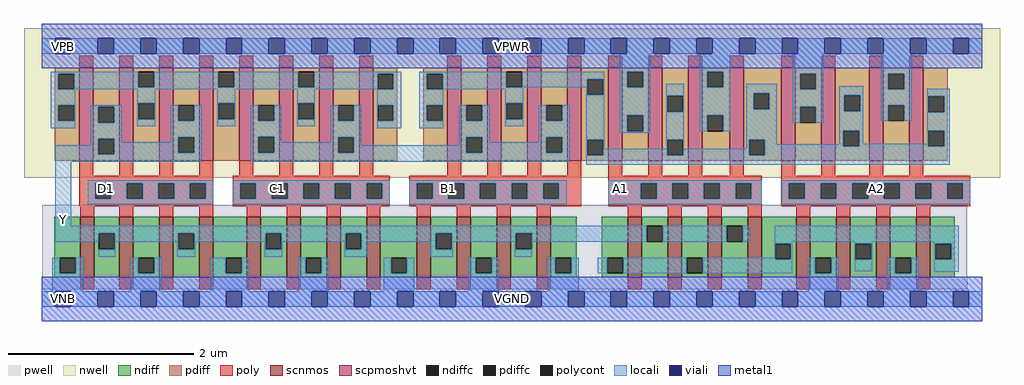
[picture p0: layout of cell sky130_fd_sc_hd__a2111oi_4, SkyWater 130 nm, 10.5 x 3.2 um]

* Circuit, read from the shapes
.subckt sky130_fd_sc_hd__a2111oi_4 A1 A2 B1 C1 D1 VGND VNB VPB VPWR Y
XM1 Y D1 VGND VNB sky130_fd_pr__nfet_01v8 w=0.65 l=0.15 m=4
XM2 Y C1 VGND VNB sky130_fd_pr__nfet_01v8 w=0.65 l=0.15 m=4
XM3 Y B1 VGND VNB sky130_fd_pr__nfet_01v8 w=0.65 l=0.15 m=4
XM4 Y A1 n1 VNB sky130_fd_pr__nfet_01v8 w=0.65 l=0.15 m=4
XM5 VGND A2 n1 VNB sky130_fd_pr__nfet_01v8 w=0.65 l=0.15 m=4
XM6 Y D1 n2 VPB sky130_fd_pr__pfet_01v8_hvt w=1 l=0.15 m=4
XM7 n3 C1 n2 VPB sky130_fd_pr__pfet_01v8_hvt w=1 l=0.15 m=4
XM8 n3 B1 n4 VPB sky130_fd_pr__pfet_01v8_hvt w=1 l=0.15 m=4
XM9 VPWR A1 n4 VPB sky130_fd_pr__pfet_01v8_hvt w=1 l=0.15 m=4
XM10 VPWR A2 n4 VPB sky130_fd_pr__pfet_01v8_hvt w=1 l=0.15 m=4
.ends

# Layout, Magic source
magic
tech sky130A
magscale 1 2
<< nwell >>
rect -38 261 2062 582
<< pwell >>
rect 1 21 1991 203
rect 30 -17 64 21
<< scnmos >>
rect 83 47 113 177
rect 167 47 197 177
rect 253 47 283 177
rect 339 47 369 177
rect 441 47 471 177
rect 527 47 557 177
rect 613 47 643 177
rect 699 47 729 177
rect 807 47 837 177
rect 893 47 923 177
rect 979 47 1009 177
rect 1065 47 1095 177
rect 1261 47 1291 177
rect 1347 47 1377 177
rect 1433 47 1463 177
rect 1519 47 1549 177
rect 1624 47 1654 177
rect 1710 47 1740 177
rect 1796 47 1826 177
rect 1882 47 1912 177
<< scpmoshvt >>
rect 81 297 111 497
rect 167 297 197 497
rect 253 297 283 497
rect 339 297 369 497
rect 425 297 455 497
rect 511 297 541 497
rect 597 297 627 497
rect 683 297 713 497
rect 873 297 903 497
rect 959 297 989 497
rect 1045 297 1075 497
rect 1131 297 1161 497
rect 1219 297 1249 497
rect 1305 297 1335 497
rect 1391 297 1421 497
rect 1481 297 1511 497
rect 1591 297 1621 497
rect 1677 297 1707 497
rect 1781 297 1811 497
rect 1867 297 1897 497
<< ndiff >>
rect 27 89 83 177
rect 27 55 39 89
rect 73 55 83 89
rect 27 47 83 55
rect 113 141 167 177
rect 113 107 123 141
rect 157 107 167 141
rect 113 47 167 107
rect 197 89 253 177
rect 197 55 208 89
rect 242 55 253 89
rect 197 47 253 55
rect 283 141 339 177
rect 283 107 294 141
rect 328 107 339 141
rect 283 47 339 107
rect 369 89 441 177
rect 369 55 396 89
rect 430 55 441 89
rect 369 47 441 55
rect 471 141 527 177
rect 471 107 482 141
rect 516 107 527 141
rect 471 47 527 107
rect 557 89 613 177
rect 557 55 568 89
rect 602 55 613 89
rect 557 47 613 55
rect 643 141 699 177
rect 643 107 654 141
rect 688 107 699 141
rect 643 47 699 107
rect 729 89 807 177
rect 729 55 752 89
rect 786 55 807 89
rect 729 47 807 55
rect 837 141 893 177
rect 837 107 848 141
rect 882 107 893 141
rect 837 47 893 107
rect 923 89 979 177
rect 923 55 934 89
rect 968 55 979 89
rect 923 47 979 55
rect 1009 141 1065 177
rect 1009 107 1020 141
rect 1054 107 1065 141
rect 1009 47 1065 107
rect 1095 89 1151 177
rect 1095 55 1105 89
rect 1139 55 1151 89
rect 1095 47 1151 55
rect 1205 89 1261 177
rect 1205 55 1217 89
rect 1251 55 1261 89
rect 1205 47 1261 55
rect 1291 157 1347 177
rect 1291 123 1302 157
rect 1336 123 1347 157
rect 1291 47 1347 123
rect 1377 89 1433 177
rect 1377 55 1388 89
rect 1422 55 1433 89
rect 1377 47 1433 55
rect 1463 157 1519 177
rect 1463 123 1474 157
rect 1508 123 1519 157
rect 1463 47 1519 123
rect 1549 119 1624 177
rect 1549 85 1578 119
rect 1612 85 1624 119
rect 1549 47 1624 85
rect 1654 89 1710 177
rect 1654 55 1665 89
rect 1699 55 1710 89
rect 1654 47 1710 55
rect 1740 119 1796 177
rect 1740 85 1751 119
rect 1785 85 1796 119
rect 1740 47 1796 85
rect 1826 89 1882 177
rect 1826 55 1837 89
rect 1871 55 1882 89
rect 1826 47 1882 55
rect 1912 119 1965 177
rect 1912 85 1923 119
rect 1957 85 1965 119
rect 1912 47 1965 85
<< pdiff >>
rect 28 485 81 497
rect 28 451 36 485
rect 70 451 81 485
rect 28 417 81 451
rect 28 383 36 417
rect 70 383 81 417
rect 28 297 81 383
rect 111 413 167 497
rect 111 379 122 413
rect 156 379 167 413
rect 111 345 167 379
rect 111 311 122 345
rect 156 311 167 345
rect 111 297 167 311
rect 197 489 253 497
rect 197 455 208 489
rect 242 455 253 489
rect 197 421 253 455
rect 197 387 208 421
rect 242 387 253 421
rect 197 297 253 387
rect 283 417 339 497
rect 283 383 294 417
rect 328 383 339 417
rect 283 348 339 383
rect 283 314 294 348
rect 328 314 339 348
rect 283 297 339 314
rect 369 489 425 497
rect 369 455 380 489
rect 414 455 425 489
rect 369 421 425 455
rect 369 387 380 421
rect 414 387 425 421
rect 369 297 425 387
rect 455 417 511 497
rect 455 383 466 417
rect 500 383 511 417
rect 455 349 511 383
rect 455 315 466 349
rect 500 315 511 349
rect 455 297 511 315
rect 541 489 597 497
rect 541 455 552 489
rect 586 455 597 489
rect 541 421 597 455
rect 541 387 552 421
rect 586 387 597 421
rect 541 297 597 387
rect 627 417 683 497
rect 627 383 638 417
rect 672 383 683 417
rect 627 348 683 383
rect 627 314 638 348
rect 672 314 683 348
rect 627 297 683 314
rect 713 485 765 497
rect 713 451 723 485
rect 757 451 765 485
rect 713 417 765 451
rect 713 383 723 417
rect 757 383 765 417
rect 713 297 765 383
rect 821 485 873 497
rect 821 451 829 485
rect 863 451 873 485
rect 821 417 873 451
rect 821 383 829 417
rect 863 383 873 417
rect 821 297 873 383
rect 903 417 959 497
rect 903 383 914 417
rect 948 383 959 417
rect 903 348 959 383
rect 903 314 914 348
rect 948 314 959 348
rect 903 297 959 314
rect 989 489 1045 497
rect 989 455 1000 489
rect 1034 455 1045 489
rect 989 421 1045 455
rect 989 387 1000 421
rect 1034 387 1045 421
rect 989 297 1045 387
rect 1075 417 1131 497
rect 1075 383 1086 417
rect 1120 383 1131 417
rect 1075 348 1131 383
rect 1075 314 1086 348
rect 1120 314 1131 348
rect 1075 297 1131 314
rect 1161 473 1219 497
rect 1161 439 1174 473
rect 1208 439 1219 473
rect 1161 343 1219 439
rect 1161 309 1174 343
rect 1208 309 1219 343
rect 1161 297 1219 309
rect 1249 489 1305 497
rect 1249 455 1260 489
rect 1294 455 1305 489
rect 1249 395 1305 455
rect 1249 361 1260 395
rect 1294 361 1305 395
rect 1249 297 1305 361
rect 1335 437 1391 497
rect 1335 403 1346 437
rect 1380 403 1391 437
rect 1335 343 1391 403
rect 1335 309 1346 343
rect 1380 309 1391 343
rect 1335 297 1391 309
rect 1421 489 1481 497
rect 1421 455 1432 489
rect 1466 455 1481 489
rect 1421 395 1481 455
rect 1421 361 1432 395
rect 1466 361 1481 395
rect 1421 297 1481 361
rect 1511 442 1591 497
rect 1511 408 1532 442
rect 1566 408 1591 442
rect 1511 343 1591 408
rect 1511 309 1522 343
rect 1556 309 1591 343
rect 1511 297 1591 309
rect 1621 485 1677 497
rect 1621 451 1632 485
rect 1666 451 1677 485
rect 1621 413 1677 451
rect 1621 379 1632 413
rect 1666 379 1677 413
rect 1621 297 1677 379
rect 1707 438 1781 497
rect 1707 404 1727 438
rect 1761 404 1781 438
rect 1707 362 1781 404
rect 1707 328 1725 362
rect 1759 328 1781 362
rect 1707 297 1781 328
rect 1811 485 1867 497
rect 1811 451 1822 485
rect 1856 451 1867 485
rect 1811 417 1867 451
rect 1811 383 1822 417
rect 1856 383 1867 417
rect 1811 297 1867 383
rect 1897 436 1950 497
rect 1897 402 1908 436
rect 1942 402 1950 436
rect 1897 362 1950 402
rect 1897 328 1908 362
rect 1942 328 1950 362
rect 1897 297 1950 328
<< ndiffc >>
rect 39 55 73 89
rect 123 107 157 141
rect 208 55 242 89
rect 294 107 328 141
rect 396 55 430 89
rect 482 107 516 141
rect 568 55 602 89
rect 654 107 688 141
rect 752 55 786 89
rect 848 107 882 141
rect 934 55 968 89
rect 1020 107 1054 141
rect 1105 55 1139 89
rect 1217 55 1251 89
rect 1302 123 1336 157
rect 1388 55 1422 89
rect 1474 123 1508 157
rect 1578 85 1612 119
rect 1665 55 1699 89
rect 1751 85 1785 119
rect 1837 55 1871 89
rect 1923 85 1957 119
<< pdiffc >>
rect 36 451 70 485
rect 36 383 70 417
rect 122 379 156 413
rect 122 311 156 345
rect 208 455 242 489
rect 208 387 242 421
rect 294 383 328 417
rect 294 314 328 348
rect 380 455 414 489
rect 380 387 414 421
rect 466 383 500 417
rect 466 315 500 349
rect 552 455 586 489
rect 552 387 586 421
rect 638 383 672 417
rect 638 314 672 348
rect 723 451 757 485
rect 723 383 757 417
rect 829 451 863 485
rect 829 383 863 417
rect 914 383 948 417
rect 914 314 948 348
rect 1000 455 1034 489
rect 1000 387 1034 421
rect 1086 383 1120 417
rect 1086 314 1120 348
rect 1174 439 1208 473
rect 1174 309 1208 343
rect 1260 455 1294 489
rect 1260 361 1294 395
rect 1346 403 1380 437
rect 1346 309 1380 343
rect 1432 455 1466 489
rect 1432 361 1466 395
rect 1532 408 1566 442
rect 1522 309 1556 343
rect 1632 451 1666 485
rect 1632 379 1666 413
rect 1727 404 1761 438
rect 1725 328 1759 362
rect 1822 451 1856 485
rect 1822 383 1856 417
rect 1908 402 1942 436
rect 1908 328 1942 362
<< poly >>
rect 81 497 111 523
rect 167 497 197 523
rect 253 497 283 523
rect 339 497 369 523
rect 425 497 455 523
rect 511 497 541 523
rect 597 497 627 523
rect 683 497 713 523
rect 873 497 903 523
rect 959 497 989 523
rect 1045 497 1075 523
rect 1131 497 1161 523
rect 1219 497 1249 523
rect 1305 497 1335 523
rect 1391 497 1421 523
rect 1481 497 1511 523
rect 1591 497 1621 523
rect 1677 497 1707 523
rect 1781 497 1811 523
rect 1867 497 1897 523
rect 81 265 111 297
rect 167 265 197 297
rect 253 265 283 297
rect 339 265 369 297
rect 425 265 455 297
rect 511 265 541 297
rect 597 265 627 297
rect 683 265 713 297
rect 873 265 903 297
rect 959 265 989 297
rect 1045 265 1075 297
rect 1131 265 1161 297
rect 81 249 369 265
rect 81 215 115 249
rect 149 215 183 249
rect 217 215 251 249
rect 285 215 319 249
rect 353 215 369 249
rect 81 199 369 215
rect 411 249 749 265
rect 411 215 427 249
rect 461 215 495 249
rect 529 215 563 249
rect 597 215 631 249
rect 665 215 699 249
rect 733 215 749 249
rect 411 199 749 215
rect 791 249 1161 265
rect 791 215 807 249
rect 841 215 875 249
rect 909 215 943 249
rect 977 215 1011 249
rect 1045 215 1079 249
rect 1113 215 1161 249
rect 791 199 1161 215
rect 1219 265 1249 297
rect 1305 265 1335 297
rect 1391 265 1421 297
rect 1481 265 1511 297
rect 1591 265 1621 297
rect 1677 265 1707 297
rect 1781 265 1811 297
rect 1867 265 1897 297
rect 1219 249 1549 265
rect 1219 215 1289 249
rect 1323 215 1357 249
rect 1391 215 1425 249
rect 1459 215 1493 249
rect 1527 215 1549 249
rect 1219 199 1549 215
rect 1591 249 1998 265
rect 1591 215 1608 249
rect 1642 215 1676 249
rect 1710 215 1744 249
rect 1778 215 1812 249
rect 1846 215 1880 249
rect 1914 215 1948 249
rect 1982 215 1998 249
rect 1591 199 1998 215
rect 83 177 113 199
rect 167 177 197 199
rect 253 177 283 199
rect 339 177 369 199
rect 441 177 471 199
rect 527 177 557 199
rect 613 177 643 199
rect 699 177 729 199
rect 807 177 837 199
rect 893 177 923 199
rect 979 177 1009 199
rect 1065 177 1095 199
rect 1261 177 1291 199
rect 1347 177 1377 199
rect 1433 177 1463 199
rect 1519 177 1549 199
rect 1624 177 1654 199
rect 1710 177 1740 199
rect 1796 177 1826 199
rect 1882 177 1912 199
rect 83 21 113 47
rect 167 21 197 47
rect 253 21 283 47
rect 339 21 369 47
rect 441 21 471 47
rect 527 21 557 47
rect 613 21 643 47
rect 699 21 729 47
rect 807 21 837 47
rect 893 21 923 47
rect 979 21 1009 47
rect 1065 21 1095 47
rect 1261 21 1291 47
rect 1347 21 1377 47
rect 1433 21 1463 47
rect 1519 21 1549 47
rect 1624 21 1654 47
rect 1710 21 1740 47
rect 1796 21 1826 47
rect 1882 21 1912 47
<< polycont >>
rect 115 215 149 249
rect 183 215 217 249
rect 251 215 285 249
rect 319 215 353 249
rect 427 215 461 249
rect 495 215 529 249
rect 563 215 597 249
rect 631 215 665 249
rect 699 215 733 249
rect 807 215 841 249
rect 875 215 909 249
rect 943 215 977 249
rect 1011 215 1045 249
rect 1079 215 1113 249
rect 1289 215 1323 249
rect 1357 215 1391 249
rect 1425 215 1459 249
rect 1493 215 1527 249
rect 1608 215 1642 249
rect 1676 215 1710 249
rect 1744 215 1778 249
rect 1812 215 1846 249
rect 1880 215 1914 249
rect 1948 215 1982 249
<< locali >>
rect 0 527 29 561
rect 63 527 121 561
rect 155 527 213 561
rect 247 527 305 561
rect 339 527 397 561
rect 431 527 489 561
rect 523 527 581 561
rect 615 527 673 561
rect 707 527 765 561
rect 799 527 857 561
rect 891 527 949 561
rect 983 527 1041 561
rect 1075 527 1133 561
rect 1167 527 1225 561
rect 1259 527 1317 561
rect 1351 527 1409 561
rect 1443 527 1501 561
rect 1535 527 1593 561
rect 1627 527 1685 561
rect 1719 527 1777 561
rect 1811 527 1869 561
rect 1903 527 1961 561
rect 1995 527 2024 561
rect 1244 489 1310 527
rect 20 485 208 489
rect 20 451 36 485
rect 70 455 208 485
rect 242 455 380 489
rect 414 455 552 489
rect 586 485 774 489
rect 586 455 723 485
rect 70 451 723 455
rect 757 451 774 485
rect 20 417 72 451
rect 206 421 244 451
rect 20 383 36 417
rect 70 383 72 417
rect 20 367 72 383
rect 106 413 172 417
rect 106 379 122 413
rect 156 379 172 413
rect 106 345 172 379
rect 206 387 208 421
rect 242 387 244 421
rect 378 421 416 451
rect 206 371 244 387
rect 278 383 294 417
rect 328 383 344 417
rect 106 331 122 345
rect 29 311 122 331
rect 156 337 172 345
rect 278 348 344 383
rect 378 387 380 421
rect 414 387 416 421
rect 550 421 588 451
rect 378 371 416 387
rect 450 383 466 417
rect 500 383 516 417
rect 278 337 294 348
rect 156 314 294 337
rect 328 314 344 348
rect 156 311 344 314
rect 29 295 344 311
rect 450 349 516 383
rect 550 387 552 421
rect 586 387 588 421
rect 722 417 774 451
rect 550 371 588 387
rect 622 383 638 417
rect 672 383 688 417
rect 450 315 466 349
rect 500 337 516 349
rect 622 348 688 383
rect 722 383 723 417
rect 757 383 774 417
rect 722 367 774 383
rect 812 485 1000 489
rect 812 451 829 485
rect 863 455 1000 485
rect 1034 473 1210 489
rect 1034 455 1174 473
rect 863 451 1036 455
rect 812 417 864 451
rect 998 421 1036 451
rect 812 383 829 417
rect 863 383 864 417
rect 812 367 864 383
rect 898 383 914 417
rect 948 383 964 417
rect 622 337 638 348
rect 500 315 638 337
rect 450 314 638 315
rect 672 331 688 348
rect 898 348 964 383
rect 998 387 1000 421
rect 1034 387 1036 421
rect 1172 439 1174 455
rect 1208 439 1210 473
rect 998 371 1036 387
rect 1070 383 1086 417
rect 1120 383 1136 417
rect 898 331 914 348
rect 672 314 914 331
rect 948 337 964 348
rect 1070 348 1136 383
rect 1070 337 1086 348
rect 948 314 1086 337
rect 1120 314 1136 348
rect 450 295 1136 314
rect 1172 343 1210 439
rect 1244 455 1260 489
rect 1294 455 1310 489
rect 1416 489 1482 527
rect 1244 395 1310 455
rect 1244 361 1260 395
rect 1294 361 1310 395
rect 1244 357 1310 361
rect 1344 437 1382 463
rect 1344 403 1346 437
rect 1380 403 1382 437
rect 1172 309 1174 343
rect 1208 323 1210 343
rect 1344 343 1382 403
rect 1416 455 1432 489
rect 1466 455 1482 489
rect 1616 485 1682 527
rect 1416 395 1482 455
rect 1416 361 1432 395
rect 1466 361 1482 395
rect 1516 442 1582 463
rect 1516 408 1532 442
rect 1566 408 1582 442
rect 1344 323 1346 343
rect 1208 309 1346 323
rect 1380 323 1382 343
rect 1516 343 1582 408
rect 1616 451 1632 485
rect 1666 451 1682 485
rect 1806 485 1872 527
rect 1616 413 1682 451
rect 1616 379 1632 413
rect 1666 379 1682 413
rect 1716 438 1768 458
rect 1716 404 1727 438
rect 1761 404 1768 438
rect 1516 323 1522 343
rect 1380 309 1522 323
rect 1556 333 1582 343
rect 1716 362 1768 404
rect 1806 451 1822 485
rect 1856 451 1872 485
rect 1806 417 1872 451
rect 1806 383 1822 417
rect 1856 383 1872 417
rect 1906 436 1954 452
rect 1906 402 1908 436
rect 1942 402 1954 436
rect 1716 333 1725 362
rect 1556 328 1725 333
rect 1759 334 1768 362
rect 1906 362 1954 402
rect 1906 334 1908 362
rect 1759 328 1908 334
rect 1942 328 1954 362
rect 1556 309 1954 328
rect 29 157 64 295
rect 1172 289 1954 309
rect 99 249 369 255
rect 99 215 115 249
rect 149 215 183 249
rect 217 215 251 249
rect 285 215 319 249
rect 353 215 369 249
rect 99 204 369 215
rect 411 249 749 255
rect 411 215 427 249
rect 461 215 495 249
rect 529 215 563 249
rect 597 215 631 249
rect 665 215 699 249
rect 733 215 749 249
rect 411 204 749 215
rect 791 249 1130 255
rect 791 215 807 249
rect 841 215 875 249
rect 909 215 943 249
rect 977 215 1011 249
rect 1045 215 1079 249
rect 1113 215 1130 249
rect 791 204 1130 215
rect 1219 249 1549 255
rect 1219 215 1289 249
rect 1323 215 1357 249
rect 1391 215 1425 249
rect 1459 215 1493 249
rect 1527 215 1549 249
rect 1219 204 1549 215
rect 1592 249 1998 255
rect 1592 215 1608 249
rect 1642 215 1676 249
rect 1710 215 1744 249
rect 1778 215 1812 249
rect 1846 215 1880 249
rect 1914 215 1948 249
rect 1982 215 1998 249
rect 1592 204 1998 215
rect 29 141 1302 157
rect 29 123 123 141
rect 157 123 294 141
rect 157 107 158 123
rect 123 91 158 107
rect 292 107 294 123
rect 328 123 482 141
rect 328 107 330 123
rect 292 91 330 107
rect 480 107 482 123
rect 516 123 654 141
rect 516 107 518 123
rect 480 91 518 107
rect 652 107 654 123
rect 688 123 848 141
rect 688 107 702 123
rect 652 91 702 107
rect 836 107 848 123
rect 882 123 1020 141
rect 882 107 884 123
rect 836 91 884 107
rect 1018 107 1020 123
rect 1054 123 1302 141
rect 1336 123 1474 157
rect 1508 123 1524 157
rect 1577 123 1973 157
rect 1054 107 1055 123
rect 1018 91 1055 107
rect 1577 119 1615 123
rect 1577 89 1578 119
rect 23 55 39 89
rect 73 55 89 89
rect 23 17 89 55
rect 192 55 208 89
rect 242 55 258 89
rect 192 17 258 55
rect 364 55 396 89
rect 430 55 446 89
rect 364 17 446 55
rect 552 55 568 89
rect 602 55 618 89
rect 552 17 618 55
rect 736 55 752 89
rect 786 55 802 89
rect 736 17 802 55
rect 918 55 934 89
rect 968 55 984 89
rect 918 17 984 55
rect 1089 55 1105 89
rect 1139 55 1156 89
rect 1196 55 1217 89
rect 1251 55 1388 89
rect 1422 85 1578 89
rect 1612 85 1615 119
rect 1749 119 1787 123
rect 1422 55 1615 85
rect 1649 55 1665 89
rect 1699 55 1715 89
rect 1749 85 1751 119
rect 1785 85 1787 119
rect 1921 119 1973 123
rect 1749 60 1787 85
rect 1089 17 1156 55
rect 1649 17 1715 55
rect 1821 55 1837 89
rect 1871 55 1887 89
rect 1921 85 1923 119
rect 1957 85 1973 119
rect 1921 58 1973 85
rect 1821 17 1887 55
rect 0 -17 29 17
rect 63 -17 121 17
rect 155 -17 213 17
rect 247 -17 305 17
rect 339 -17 397 17
rect 431 -17 489 17
rect 523 -17 581 17
rect 615 -17 673 17
rect 707 -17 765 17
rect 799 -17 857 17
rect 891 -17 949 17
rect 983 -17 1041 17
rect 1075 -17 1133 17
rect 1167 -17 1225 17
rect 1259 -17 1317 17
rect 1351 -17 1409 17
rect 1443 -17 1501 17
rect 1535 -17 1593 17
rect 1627 -17 1685 17
rect 1719 -17 1777 17
rect 1811 -17 1869 17
rect 1903 -17 1961 17
rect 1995 -17 2024 17
<< viali >>
rect 29 527 63 561
rect 121 527 155 561
rect 213 527 247 561
rect 305 527 339 561
rect 397 527 431 561
rect 489 527 523 561
rect 581 527 615 561
rect 673 527 707 561
rect 765 527 799 561
rect 857 527 891 561
rect 949 527 983 561
rect 1041 527 1075 561
rect 1133 527 1167 561
rect 1225 527 1259 561
rect 1317 527 1351 561
rect 1409 527 1443 561
rect 1501 527 1535 561
rect 1593 527 1627 561
rect 1685 527 1719 561
rect 1777 527 1811 561
rect 1869 527 1903 561
rect 1961 527 1995 561
rect 29 -17 63 17
rect 121 -17 155 17
rect 213 -17 247 17
rect 305 -17 339 17
rect 397 -17 431 17
rect 489 -17 523 17
rect 581 -17 615 17
rect 673 -17 707 17
rect 765 -17 799 17
rect 857 -17 891 17
rect 949 -17 983 17
rect 1041 -17 1075 17
rect 1133 -17 1167 17
rect 1225 -17 1259 17
rect 1317 -17 1351 17
rect 1409 -17 1443 17
rect 1501 -17 1535 17
rect 1593 -17 1627 17
rect 1685 -17 1719 17
rect 1777 -17 1811 17
rect 1869 -17 1903 17
rect 1961 -17 1995 17
<< metal1 >>
rect 0 561 2024 592
rect 0 527 29 561
rect 63 527 121 561
rect 155 527 213 561
rect 247 527 305 561
rect 339 527 397 561
rect 431 527 489 561
rect 523 527 581 561
rect 615 527 673 561
rect 707 527 765 561
rect 799 527 857 561
rect 891 527 949 561
rect 983 527 1041 561
rect 1075 527 1133 561
rect 1167 527 1225 561
rect 1259 527 1317 561
rect 1351 527 1409 561
rect 1443 527 1501 561
rect 1535 527 1593 561
rect 1627 527 1685 561
rect 1719 527 1777 561
rect 1811 527 1869 561
rect 1903 527 1961 561
rect 1995 527 2024 561
rect 0 496 2024 527
rect 0 17 2024 48
rect 0 -17 29 17
rect 63 -17 121 17
rect 155 -17 213 17
rect 247 -17 305 17
rect 339 -17 397 17
rect 431 -17 489 17
rect 523 -17 581 17
rect 615 -17 673 17
rect 707 -17 765 17
rect 799 -17 857 17
rect 891 -17 949 17
rect 983 -17 1041 17
rect 1075 -17 1133 17
rect 1167 -17 1225 17
rect 1259 -17 1317 17
rect 1351 -17 1409 17
rect 1443 -17 1501 17
rect 1535 -17 1593 17
rect 1627 -17 1685 17
rect 1719 -17 1777 17
rect 1811 -17 1869 17
rect 1903 -17 1961 17
rect 1995 -17 2024 17
rect 0 -48 2024 -17
<< labels >>
flabel locali s 122 221 156 255 0 FreeSans 340 0 0 0 D1
port 5 nsew signal input
flabel locali s 490 221 524 255 0 FreeSans 340 0 0 0 C1
port 4 nsew signal input
flabel locali s 858 221 892 255 0 FreeSans 340 0 0 0 B1
port 3 nsew signal input
flabel locali s 1780 221 1814 255 0 FreeSans 340 0 0 0 A2
port 2 nsew signal input
flabel locali s 1228 221 1262 255 0 FreeSans 340 0 0 0 A1
port 1 nsew signal input
flabel locali s 30 153 64 187 0 FreeSans 340 0 0 0 Y
port 10 nsew signal output
flabel pwell s 30 -17 64 17 0 FreeSans 200 0 0 0 VNB
port 7 nsew ground bidirectional
flabel nwell s 30 527 64 561 0 FreeSans 200 0 0 0 VPB
port 8 nsew power bidirectional
flabel metal1 s 30 -17 64 17 0 FreeSans 200 0 0 0 VGND
port 6 nsew ground bidirectional abutment
flabel metal1 s 30 527 64 561 0 FreeSans 200 0 0 0 VPWR
port 9 nsew power bidirectional abutment
rlabel comment s 0 0 0 0 4 a2111oi_4
rlabel metal1 s 0 -48 2024 48 1 VGND
port 6 nsew ground bidirectional abutment
rlabel metal1 s 0 496 2024 592 1 VPWR
port 9 nsew power bidirectional abutment
<< properties >>
string FIXED_BBOX 0 0 2024 544
string GDS_END 3801468
string GDS_FILE $PDKPATH/libs.ref/sky130_fd_sc_hd/gds/sky130_fd_sc_hd.gds
string GDS_START 3787304
string LEFclass CORE
string LEFsite unithd
string LEFsymmetry X Y R90
string path 0.000 0.000 50.600 0.000 
<< end >>
